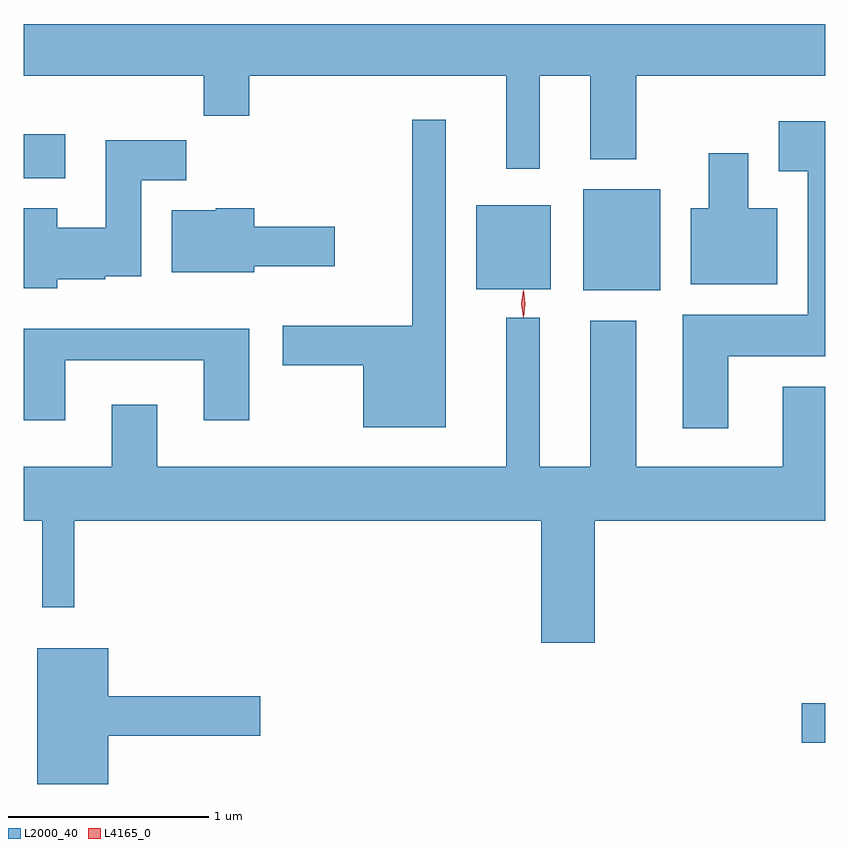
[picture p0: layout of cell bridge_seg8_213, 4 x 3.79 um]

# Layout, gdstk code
import gdstk
lib = gdstk.Library(unit=1e-6, precision=1e-09)
def R(c, l, rs):  # rectangles x0, y0, x1, y1
    for r in rs: c.add(gdstk.rectangle(r[:2], r[2:], *l))
def P(c, l, *ps):  # polygons
    for p in ps: c.add(gdstk.Polygon(p, *l))
L2000_40 = (2000, 40)
L4165_0 = (4165, 0)

bridge_seg8_213 = lib.new_cell('bridge_seg8_213')
R(bridge_seg8_213, L2000_40, [(1055.536,1939.646,1055.653,1939.844), (1054.446,1941.906,1054.829,1942.409), (1053.911,1941.911,1054.284,1942.329), (1051.653,1942.466,1051.859,1942.684)])
P(bridge_seg8_213, L2000_40, [(1051.653,1942.976),(1052.551,1942.976),(1052.551,1942.776),(1052.779,1942.776),(1052.779,1942.976),(1054.061,1942.976),(1054.061,1942.513),(1054.229,1942.513),(1054.229,1942.976),(1054.481,1942.976),(1054.481,1942.561),(1054.709,1942.561),(1054.709,1942.976),(1055.653,1942.976),(1055.653,1943.235),(1051.653,1943.235)],
  [(1053.759,1942.758),(1053.591,1942.758),(1053.591,1941.729),(1052.946,1941.729),(1052.946,1941.531),(1053.346,1941.531),(1053.346,1941.221),(1053.759,1941.221)],
  [(1055.169,1941.576),(1055.653,1941.576),(1055.653,1942.749),(1055.421,1942.749),(1055.421,1942.501),(1055.566,1942.501),(1055.566,1941.784),(1054.941,1941.784),(1054.941,1941.216),(1055.169,1941.216)],
  [(1051.819,1941.961),(1052.06,1941.961),(1052.06,1941.976),(1052.239,1941.976),(1052.239,1942.456),(1052.464,1942.456),(1052.464,1942.654),(1052.061,1942.654),(1052.061,1942.219),(1051.819,1942.219),(1051.819,1942.314),(1051.653,1942.314),(1051.653,1941.916),(1051.819,1941.916)],
  [(1055.414,1942.314),(1055.269,1942.314),(1055.269,1942.589),(1055.071,1942.589),(1055.071,1942.314),(1054.981,1942.314),(1054.981,1941.936),(1055.414,1941.936)],
  [(1052.804,1942.026),(1053.204,1942.026),(1053.204,1942.224),(1052.804,1942.224),(1052.804,1942.314),(1052.61,1942.314),(1052.61,1942.304),(1052.391,1942.304),(1052.391,1941.996),(1052.804,1941.996)],
  [(1054.504,1940.756),(1055.653,1940.756),(1055.653,1941.424),(1055.441,1941.424),(1055.441,1941.024),(1054.709,1941.024),(1054.709,1941.754),(1054.481,1941.754),(1054.481,1941.024),(1054.229,1941.024),(1054.229,1941.768),(1054.061,1941.768),(1054.061,1941.024),(1052.319,1941.024),(1052.319,1941.334),(1052.091,1941.334),(1052.091,1941.024),(1051.653,1941.024),(1051.653,1940.756),(1051.746,1940.756),(1051.746,1940.323),(1051.904,1940.323),(1051.904,1940.756),(1054.236,1940.756),(1054.236,1940.146),(1054.504,1940.146)],
  [(1051.859,1941.556),(1052.551,1941.556),(1052.551,1941.256),(1052.779,1941.256),(1052.779,1941.714),(1051.653,1941.714),(1051.653,1941.256),(1051.859,1941.256)],
  [(1052.074,1939.681),(1052.834,1939.681),(1052.834,1939.879),(1052.074,1939.879),(1052.074,1940.119),(1051.721,1940.119),(1051.721,1939.441),(1052.074,1939.441)])
P(bridge_seg8_213, L4165_0, [(1054.147,1941.773),(1054.147,1941.773),(1054.137,1941.837),(1054.147,1941.901),(1054.147,1941.902),(1054.148,1941.901),(1054.157,1941.837),(1054.148,1941.773)],
  [(1054.147,1941.77),(1054.147,1941.77),(1054.137,1941.838),(1054.147,1941.906),(1054.147,1941.906),(1054.148,1941.906),(1054.157,1941.838),(1054.148,1941.77)])

lib.write_gds('bridge_seg8_213.gds')
